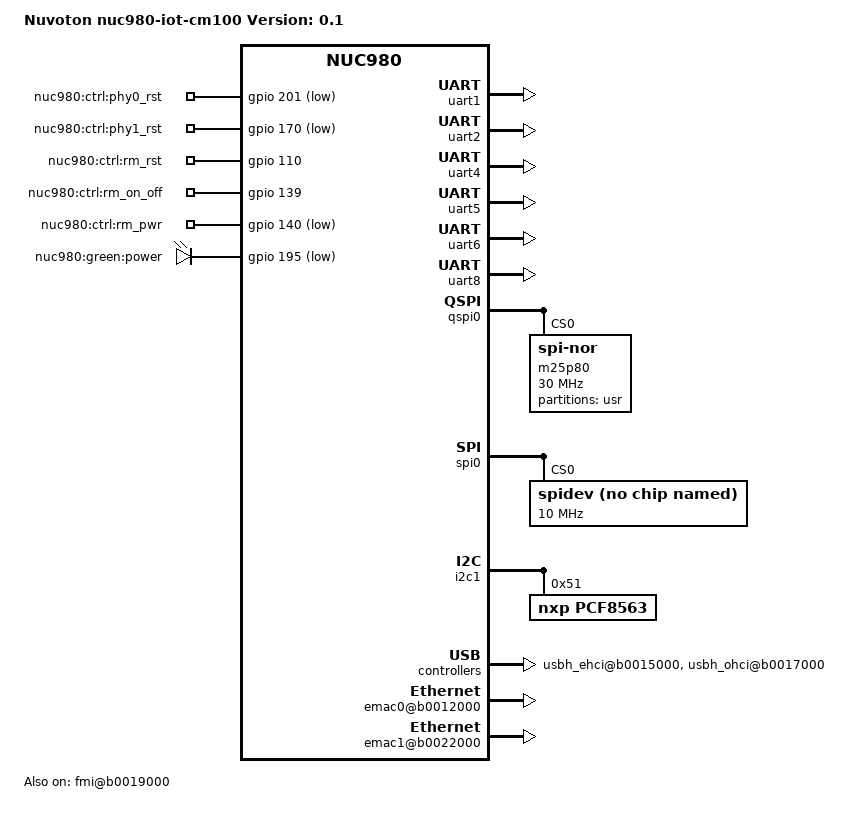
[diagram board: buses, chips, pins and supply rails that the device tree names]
/*
 * Device Tree Source for NUC980 IOT board
 *
 * Copyright (C) 2019 Nuvoton Technology Corp.
 *
 * The code contained herein is licensed under the GNU General Public
 * License. You may obtain a copy of the GNU General Public License
 * Version 2 or later at the following locations:
 *
 * http://www.opensource.org/licenses/gpl-license.html
 * http://www.gnu.org/copyleft/gpl.html
 */
/dts-v1/;
/include/ "nuc980-iot.dtsi"
#include <dt-bindings/gpio/gpio.h>
#include <dt-bindings/input/input.h>

/ {
	model = "Nuvoton nuc980-iot-cm100 Version: 0.1";
	compatible = "nuvoton,nuc980-dev-v1.0", "nuvoton,nuc980";

	chosen {
		bootargs = "root=/dev/ram0 console=ttyS0,115200n8 rdinit=/sbin/init mem=64M lpj=744448";
	};
	
 	#if 0
	gpio-keys-polled {
		compatible = "gpio-keys-polled";
		#address-cells = <1>;
		#size-cells = <0>;
		poll-interval = <50>;
		status = "okay";
		reset {
			label = "reset";
			gpios = <&gpio 167 GPIO_ACTIVE_LOW>;
			linux,code = <KEY_RESTART>;
		};
	};
	#endif
	
	gpio-leds {
		compatible = "gpio-leds";
		status = "okay";
		

		phy0_rst {
			label = "nuc980:ctrl:phy0_rst";
			gpios = <&gpio 201 GPIO_ACTIVE_LOW>;
		};


		phy1_rst {
			label = "nuc980:ctrl:phy1_rst";
			gpios = <&gpio 170 GPIO_ACTIVE_LOW>;
		};

		
		rm_rst {
			label = "nuc980:ctrl:rm_rst";
			gpios = <&gpio 110 GPIO_ACTIVE_HIGH>;
		};

		rm_on_off {
			label = "nuc980:ctrl:rm_on_off";
			gpios = <&gpio 139 GPIO_ACTIVE_HIGH>;
		};

		rm_pwr {
			label = "nuc980:ctrl:rm_pwr";
			gpios = <&gpio 140 GPIO_ACTIVE_LOW>;
		};
		
		power {
			label = "nuc980:green:power";
			gpios = <&gpio 195 GPIO_ACTIVE_LOW>;
		};
		
#if 0
		lan {
			label = "nuc980:green:lan";
			gpios = <&gpio 33 GPIO_ACTIVE_LOW>;
		};

		wan {
			label = "nuc980:green:wan";
			gpios = <&gpio 34 GPIO_ACTIVE_LOW>;
		};
#endif


	};



	apb {
		uart1: serial@b0071000 {
			pinctrl-names = "default";
			pinctrl-0 = <&pinctrl_uart1_PA>;
			pdma-enable = <1>;
			status = "okay";
		};

		uart2: serial@b0072000 {
			pinctrl-names = "default";
			pinctrl-0 = <&pinctrl_uart2_PA_Lite>;
			pdma-enable = <1>;
			status = "okay";
		};

		uart3: serial@b0073000 {
			status = "disabled";
		};

		uart4: serial@b0074000 {
			pinctrl-names = "default";
			pinctrl-0 = <&pinctrl_uart4_PD_Lite>;
			pdma-enable = <1>;
			status = "okay";
		};

		uart5: serial@b0075000 {
			pinctrl-names = "default";
			pinctrl-0 = <&pinctrl_uart5_PG_Lite>;
			pdma-enable = <1>;
			status = "okay";
		};

		uart6: serial@b0076000 {
			pinctrl-names = "default";
			pinctrl-0 = <&pinctrl_uart6_PA_Lite>;
			pdma-enable = <1>;
			status = "okay";
		};

		uart7: serial@b0077000 {
			pinctrl-names = "default";
			pinctrl-0 = <&pinctrl_uart7_PB>;
			pdma-enable = <1>;
			status = "disabled";
		};

		uart8: serial@b0078000 {
			pinctrl-names = "default";
			pinctrl-0 = <&pinctrl_uart8_PA_Lite>;
			pdma-enable = <1>;
			status = "okay";
		};

		uart9: serial@b0079000 {
			pinctrl-names = "default";
			pinctrl-0 = <&pinctrl_uart9_PB_PE>;
			pdma-enable = <1>;
			status = "disabled";
		};
		
		wdt: wdt@b0004000 {
			//status = "okay";//enable nuc980 wdg
			status = "disabled";//disable nuc980 wdg
		};
		
		can0: can@b00a0000 {
			status = "disabled";
		};

		can1: can@b00a1000 {
			status = "disabled";
		};

		rtc: rtc@b0041000 {
			status = "disabled";// disable nuc980 rtc
		};
		
		gpio: gpio@b0004000 {
			/* 1st: 0(Disable)/1(Enable) */
			/* 2nd: 0(PD0)/1(PE10)/2(PB3)/3(PB13) */
			/* 3rd: 0(both)/1(rasing)/2(falling)/3(heigh level)/4(low level) */
			eint2-config = <1 2 0>;
			status = "okay";
		};

		nadc: nadc@b0043000 {
			status = "disabled";
		};

		pwm0: pwm0@b0058000 {
			status = "disabled";
		};

		pwm1: pwm1@b0059000 {
			status = "disabled";
		};

		qspi0: qspi0@b0060000 {
			status = "okay";
			#address-cells = <1>;
			#size-cells = <0>;
			
			#if 1
			
			pinctrl-0 = <&pinctrl_qspi0>;
			//spi-rx-bus-width = <4>;
			//spi-tx-bus-width = <4>;
			
			#else
			
			pinctrl-0 = <&pinctrl_qspi0_normal>;
			
			#endif

			num_cs  = <1>;
			lsb	 = <0>;
			txneg   = <1>;
			rxneg   = <0>;
			clkpol  = <0>;
			divider = <4>;
			sleep   = <0>;
			txnum   = <0>;
			txbitlen = <8>;
			bus_num = <0>;
#if 0
			flash: mt29f@0 {
				compatible = "mt29f";
				#address-cells = <1>;
				#size-cells = <1>;
				reg = <0>;
				spi-max-frequency = <30000000>;
					
				partition@0 {
					label = "reserve";
					reg = <0x00000000 0x0200000>;
				};
				partition@1 {
					label = "params";
					reg = <0x0200000 0x1400000>;
				};
				partition@2 {
					label = "usr";
					reg = <0x1600000 0x6A00000>;
				};
			};
#else
			m25p80@0 {
				#address-cells = <1>;
				#size-cells = <1>;
				compatible = "jedec,spi-nor";
				reg = <0>;
				spi-max-frequency = <30000000>;
				partition@0 {
					label = "usr";
					reg = <0x0 0x1000000>;
				};
			};
#endif	
		};
		
		spi0: spi0@b0061000 {
			status = "okay";
			#address-cells = <1>;
			#size-cells = <0>;

			num_cs  = <2>;
			lsb	 = <0>;
			txneg   = <1>;
			rxneg   = <0>;
			clkpol  = <0>;
			divider = <4>;
			sleep   = <0>;
			txnum   = <0>;
			txbitlen = <8>;
			bus_num = <1>;

			spidev@0x00 {
				compatible = "rohm,dh2228fv";
				spi-max-frequency = <10000000>;
				reg = <0>;
			};
		};

		spi1: spi1@b0062000 {	
			status = "disabled";
			#address-cells = <1>;
			#size-cells = <0>;

			num_cs  = <2>;
			lsb	 = <0>;
			txneg   = <1>;
			rxneg   = <0>;
			clkpol  = <0>;
			divider = <4>;
			sleep   = <0>;
			txnum   = <0>;
			txbitlen = <8>;
			bus_num = <2>;


			spidev@0x00 {
				compatible = "rohm,dh2228fv";
				spi-max-frequency = <33000000>;
				reg = <0>;
			};
			
		};

		etimer0: etimer0@b0050000 {
			status = "disabled";
		};

		etimer1: etimer1@b0050100 {
			status = "disabled";
		};

		etimer2: etimer2@b0051000 {
			status = "disabled";
		};

		etimer3: etimer3@b0051100 {
			status = "disabled";
		};

		i2c0: i2c0@b0080000 {
			status = "disabled";

			nau8822: nau8822@1a {
				compatible = "nuvoton,nau8822";
				reg = <0x1a> ;
			};
		};

		i2c1: i2c1@b0081000 {
			status = "okay";
			pinctrl-0 = <&pinctrl_i2c1_PB>;
			pcf8563: pcf8563@51 {
				compatible = "nxp,pcf8563";
				reg = <0x51>;
				#clock-cells = <0>;
			};

		};

		i2c2: i2c2@b0082000 {
			status = "disabled";
			pinctrl-0 = <&pinctrl_i2c2_PB>;
		};

		i2c3: i2c3@b0083000 {
			status = "disabled";
			pinctrl-0 = <&pinctrl_i2c3_PB>;
		};

	};

	ahb {

		usbh_ehci@b0015000 {
			status = "okay";
			pinctrl-0 = <&pinctrl_usbh_ovc>;
			pinctrl-names = "default";
		};
		
		usbh_ohci@b0017000{
			status = "okay";
		};

		usbdev@b0016000 {
			status = "disabled";
		};

		fmi@b0019000 {
			compatible = "nuvoton,nuc980-fmi", "nand";
			pinctrl-names = "default";
			pinctrl-0 = <&pinctrl_nand>;
			status = "okay";
			#address-cells = <1>;
			#size-cells = <1>;

			partition@0 {
				label = "u-boot";
				reg = <0x00000000 0x0200000>;
			};

			partition@1 {
				label = "kernel";
				reg = <0x0200000 0x1400000>;
			};

			partition@2 {
				label = "ubi";
				reg = <0x1600000 0xEA00000>;
			};
		};

		sdh@b0018000 {
			status = "disabled";
		};

		emac0@b0012000 {
			status = "okay";
		};
		emac1@b0022000 {
			status = "okay";
		};
		cap0@b0024000 {
			status = "disabled";
		};
		cap1@b0014000 {
			status = "disabled";
		};
		dma@b0008000 {
			status = "okay";
		};

		i2s: i2s@b0020000 {
			status = "disabled";
		};

		i2s_pcm: i2s_pcm {
			status = "disabled";
		};

		sound {
			compatible = "nuvoton,nuc980-audio";
			i2s-controller = <&i2s>;
			i2s-platform = <&i2s_pcm>;
			status = "disabled";
		};
		ebi: ebi@b0010000 {
			status = "disabled";
		};
	};
};
